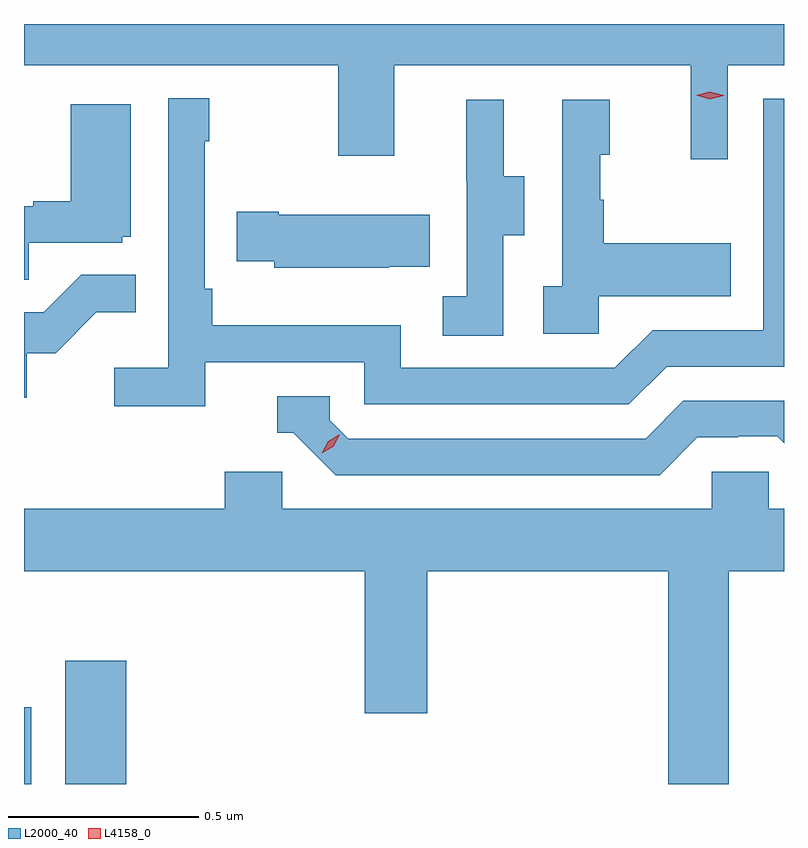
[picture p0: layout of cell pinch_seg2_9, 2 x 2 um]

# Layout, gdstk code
import gdstk
lib = gdstk.Library(unit=1e-6, precision=1e-09)
def R(c, l, rs):  # rectangles x0, y0, x1, y1
    for r in rs: c.add(gdstk.rectangle(r[:2], r[2:], *l))
def P(c, l, *ps):  # polygons
    for p in ps: c.add(gdstk.Polygon(p, *l))
L2000_40 = (2000, 40)
L4158_0 = (4158, 0)

pinch_seg2_9 = lib.new_cell('pinch_seg2_9')
R(pinch_seg2_9, L2000_40, [(1135.139,660.396,1135.158,660.598), (1135.247,660.396,1135.408,660.721)])
P(pinch_seg2_9, L2000_40, [(1136.991,662.288),(1137.139,662.288),(1137.139,662.396),(1135.139,662.396),(1135.139,662.288),(1135.966,662.288),(1135.966,662.049),(1136.113,662.049),(1136.113,662.288),(1136.894,662.288),(1136.894,662.04),(1136.991,662.04)],
  [(1135.616,661.506),(1136.034,661.506),(1136.034,661.395),(1136.731,661.395),(1136.83,661.494),(1137.139,661.494),(1137.139,662.199),(1137.084,662.199),(1137.084,661.59),(1136.793,661.59),(1136.694,661.491),(1136.13,661.491),(1136.13,661.603),(1135.634,661.603),(1135.634,661.699),(1135.614,661.699),(1135.614,662.087),(1135.627,662.087),(1135.627,662.2),(1135.518,662.2),(1135.518,661.492),(1135.377,661.492),(1135.377,661.39),(1135.616,661.39)],
  [(1136.4,661.84),(1136.455,661.84),(1136.455,661.995),(1136.401,661.995),(1136.401,662.197),(1136.303,662.197),(1136.303,661.983),(1136.304,661.983),(1136.304,661.679),(1136.241,661.679),(1136.241,661.576),(1136.4,661.576)],
  [(1136.652,661.679),(1136.999,661.679),(1136.999,661.819),(1136.665,661.819),(1136.665,661.934),(1136.655,661.934),(1136.655,662.052),(1136.68,662.052),(1136.68,662.197),(1136.556,662.197),(1136.556,661.706),(1136.505,661.706),(1136.505,661.581),(1136.652,661.581)],
  [(1135.151,661.821),(1135.398,661.821),(1135.398,661.836),(1135.42,661.836),(1135.42,662.185),(1135.262,662.185),(1135.262,661.93),(1135.163,661.93),(1135.163,661.917),(1135.139,661.917),(1135.139,661.723),(1135.151,661.723)],
  [(1136.099,661.757),(1136.207,661.757),(1136.207,661.894),(1135.81,661.894),(1135.81,661.902),(1135.699,661.902),(1135.699,661.772),(1135.797,661.772),(1135.797,661.754),(1136.099,661.754)],
  [(1135.146,661.53),(1135.222,661.53),(1135.329,661.637),(1135.433,661.637),(1135.433,661.736),(1135.289,661.736),(1135.191,661.638),(1135.139,661.638),(1135.139,661.413),(1135.146,661.413)],
  [(1136.911,661.308),(1137.018,661.308),(1137.018,661.311),(1137.121,661.311),(1137.139,661.293),(1137.139,661.404),(1136.874,661.404),(1136.775,661.305),(1135.992,661.305),(1135.944,661.353),(1135.944,661.416),(1135.805,661.416),(1135.805,661.32),(1135.848,661.32),(1135.959,661.209),(1136.812,661.209)],
  [(1136.994,660.956),(1137.139,660.956),(1137.139,661.12),(1137.099,661.12),(1137.099,661.218),(1136.949,661.218),(1136.949,661.12),(1135.818,661.12),(1135.818,661.218),(1135.667,661.218),(1135.667,661.12),(1135.139,661.12),(1135.139,660.956),(1136.036,660.956),(1136.036,660.582),(1136.2,660.582),(1136.2,660.956),(1136.834,660.956),(1136.834,660.396),(1136.994,660.396)])
P(pinch_seg2_9, L4158_0, [(1136.944,662.198),(1136.908,662.208),(1136.908,662.208),(1136.908,662.208),(1136.944,662.218),(1136.98,662.208),(1136.98,662.207),(1136.98,662.207)],
  [(1135.922,661.266),(1135.922,661.266),(1135.939,661.298),(1135.97,661.317),(1135.97,661.317),(1135.97,661.317),(1135.954,661.285),(1135.923,661.266)])

lib.write_gds('pinch_seg2_9.gds')
